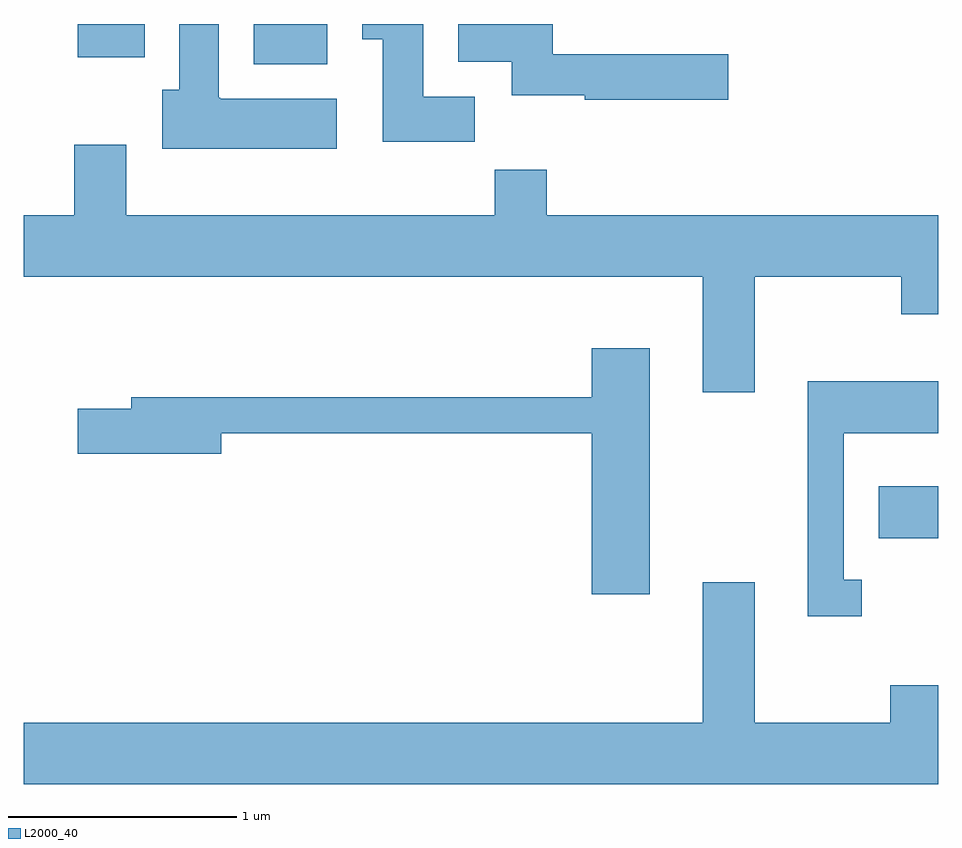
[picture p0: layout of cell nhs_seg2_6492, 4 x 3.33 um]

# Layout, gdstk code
import gdstk
lib = gdstk.Library(unit=1e-6, precision=1e-09)
def R(c, l, rs):  # rectangles x0, y0, x1, y1
    for r in rs: c.add(gdstk.rectangle(r[:2], r[2:], *l))
def P(c, l, *ps):  # polygons
    for p in ps: c.add(gdstk.Polygon(p, *l))
L2000_40 = (2000, 40)

nhs_seg2_6492 = lib.new_cell('nhs_seg2_6492')
R(nhs_seg2_6492, L2000_40, [(379.351,1111.551,379.611,1111.779), (376.616,1113.626,376.939,1113.802), (375.846,1113.656,376.139,1113.802)])
P(nhs_seg2_6492, L2000_40, [(376.979,1113.474),(376.47,1113.474),(376.47,1113.48),(376.464,1113.48),(376.464,1113.802),(376.291,1113.802),(376.291,1113.514),(376.216,1113.514),(376.216,1113.256),(376.979,1113.256)],
  [(378.694,1113.669),(377.924,1113.669),(377.924,1113.802),(377.511,1113.802),(377.511,1113.636),(377.746,1113.636),(377.746,1113.491),(378.066,1113.491),(378.066,1113.471),(378.694,1113.471)],
  [(377.584,1113.484),(377.359,1113.484),(377.359,1113.802),(377.091,1113.802),(377.091,1113.736),(377.181,1113.736),(377.181,1113.286),(377.584,1113.286)],
  [(378.809,1112.696),(379.451,1112.696),(379.451,1112.531),(379.611,1112.531),(379.611,1112.964),(377.899,1112.964),(377.899,1113.164),(377.671,1113.164),(377.671,1112.964),(376.059,1112.964),(376.059,1113.274),(375.831,1113.274),(375.831,1112.964),(375.611,1112.964),(375.611,1112.696),(378.581,1112.696),(378.581,1112.191),(378.809,1112.191)],
  [(378.349,1112.384),(378.096,1112.384),(378.096,1112.169),(376.081,1112.169),(376.081,1112.119),(375.846,1112.119),(375.846,1111.921),(376.474,1111.921),(376.474,1112.011),(378.096,1112.011),(378.096,1111.306),(378.349,1111.306)],
  [(379.278,1111.369),(379.199,1111.369),(379.199,1112.011),(379.611,1112.011),(379.611,1112.239),(379.041,1112.239),(379.041,1111.211),(379.278,1111.211)],
  [(379.611,1110.909),(379.401,1110.909),(379.401,1110.744),(378.809,1110.744),(378.809,1111.359),(378.581,1111.359),(378.581,1110.744),(375.611,1110.744),(375.611,1110.476),(379.611,1110.476)])

lib.write_gds('nhs_seg2_6492.gds')
